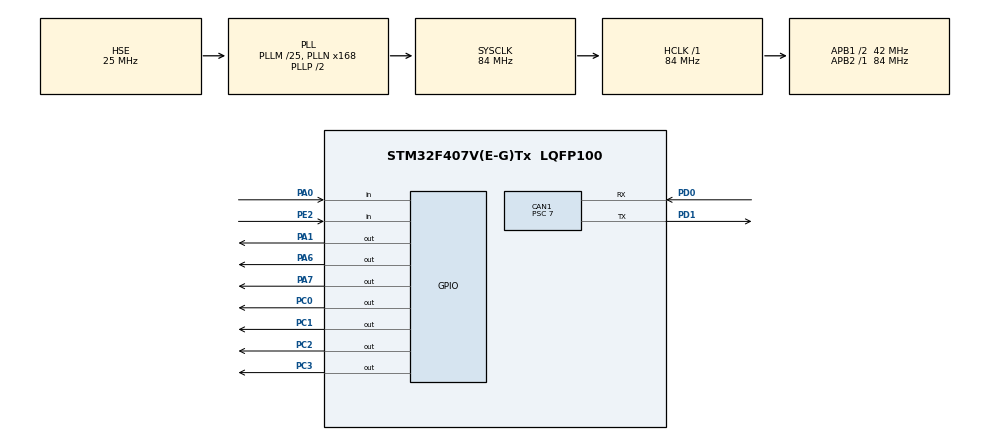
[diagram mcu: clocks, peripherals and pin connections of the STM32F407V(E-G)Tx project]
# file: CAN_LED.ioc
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CAN1.BS1=CAN_BS1_5TQ
CAN1.BS2=CAN_BS2_6TQ
CAN1.CalculateTimeQuantum=166.66666666666669
CAN1.Prescaler=7
Mcu.Family=STM32F4
Mcu.Name=STM32F407V(E-G)Tx
Mcu.Package=LQFP100
NVIC.CAN1_RX0_IRQn=true\:0\:0\:false\:false\:true\:true\:true
NVIC.PriorityGroup=NVIC_PRIORITYGROUP_4
PA0-WKUP.Signal=GPIO_Input
PA1.Signal=GPIO_Output
PA6.Signal=GPIO_Output
PA7.Signal=GPIO_Output
PC0.Signal=GPIO_Output
PC1.Signal=GPIO_Output
PC2.Signal=GPIO_Output
PC3.Signal=GPIO_Output
PD0.Mode=Master
PD0.Signal=CAN1_RX
PD1.Mode=Master
PD1.Signal=CAN1_TX
PE2.Signal=GPIO_Input
PH0-OSC_IN.Mode=HSE-External-Oscillator
PH0-OSC_IN.Signal=RCC_OSC_IN
PH1-OSC_OUT.Mode=HSE-External-Oscillator
PH1-OSC_OUT.Signal=RCC_OSC_OUT
ProjectManager.HeapSize=0x200
ProjectManager.StackSize=0x400
ProjectManager.TargetToolchain=MDK-ARM V5.27
RCC.48MHZClocksFreq_Value=42000000
RCC.AHBFreq_Value=84000000
RCC.APB1CLKDivider=RCC_HCLK_DIV2
RCC.APB1Freq_Value=42000000
RCC.APB1TimFreq_Value=84000000
RCC.APB2Freq_Value=84000000
RCC.APB2TimFreq_Value=84000000
RCC.CortexFreq_Value=84000000
RCC.HCLKFreq_Value=84000000
RCC.HSE_VALUE=25000000
RCC.HSI_VALUE=16000000
RCC.LSE_VALUE=32768
RCC.PLLM=25
RCC.PLLN=168
RCC.PLLSourceVirtual=RCC_PLLSOURCE_HSE
RCC.SYSCLKFreq_VALUE=84000000
RCC.SYSCLKSource=RCC_SYSCLKSOURCE_PLLCLK
RCC.VCOOutputFreq_Value=168000000
board=custom

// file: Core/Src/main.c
/* USER CODE BEGIN Header */
/**
  ******************************************************************************
  * @file           : main.c
  * @brief          : Main program body
  ******************************************************************************
  * @attention
  *
  * <h2><center>&copy; Copyright (c) 2021 STMicroelectronics.
  * All rights reserved.</center></h2>
  *
  * This software component is licensed by ST under BSD 3-Clause license,
  * the "License"; You may not use this file except in compliance with the
  * License. You may obtain a copy of the License at:
  *                        opensource.org/licenses/BSD-3-Clause
  *
  ******************************************************************************
  */
/* USER CODE END Header */
#include "main.h"
#include "can.h"
#include "gpio.h"

/* USER CODE BEGIN PV */
//Tx and Rx structure
static CAN_TxHeaderTypeDef TxMessage;
static CAN_RxHeaderTypeDef RxMessage;

//Rx Txdata
uint8_t TxData[8]={0};
uint32_t TxMailbox;
uint8_t RxData[8]={0};

//address
uint16_t OwnID=0x123;
uint16_t RemoteID =0x124;

/* USER CODE END PV */

void SystemClock_Config(void);
/* USER CODE BEGIN PFP */
void CAN_filterConfig(void);
void CAN_Txsetup(void);
/* USER CODE END PFP */

int main(void)
{

  /* MCU Configuration--------------------------------------------------------*/

  /* Reset of all peripherals, Initializes the Flash interface and the Systick. */
  HAL_Init();

  /* Configure the system clock */
  SystemClock_Config();

  /* Initialize all configured peripherals */
  MX_GPIO_Init();
  MX_CAN1_Init();
  /* USER CODE BEGIN 2 */

	CAN_filterConfig();
	CAN_Txsetup();

  /* USER CODE END 2 */

  /* Infinite loop */
  while (1)
  {

    /* USER CODE BEGIN 3 */
		HAL_CAN_AddTxMessage(&hcan1,&TxMessage,TxData,&TxMailbox);
		HAL_Delay(10);
		//if(HAL_GPIO_ReadPin(GPIOA,GPIO_PIN_0)==GPIO_PIN_SET){
		//	HAL_GPIO_TogglePin(GPIOA,GPIO_PIN_1);
		//	HAL_CAN_AddTxMessage(&hcan1,&TxMessage,TxData,&TxMailbox);
		//}
	//	HAL_Delay(100);
  }
  /* USER CODE END 3 */
}

void SystemClock_Config(void)
{
  RCC_OscInitTypeDef RCC_OscInitStruct = {0};
  RCC_ClkInitTypeDef RCC_ClkInitStruct = {0};

  /** Configure the main internal regulator output voltage
  */
  __HAL_RCC_PWR_CLK_ENABLE();
  __HAL_PWR_VOLTAGESCALING_CONFIG(PWR_REGULATOR_VOLTAGE_SCALE1);
  /** Initializes the RCC Oscillators according to the specified parameters
  * in the RCC_OscInitTypeDef structure.
  */
  RCC_OscInitStruct.OscillatorType = RCC_OSCILLATORTYPE_HSE;
  RCC_OscInitStruct.HSEState = RCC_HSE_ON;
  RCC_OscInitStruct.PLL.PLLState = RCC_PLL_ON;
  RCC_OscInitStruct.PLL.PLLSource = RCC_PLLSOURCE_HSE;
  RCC_OscInitStruct.PLL.PLLM = 25;
  RCC_OscInitStruct.PLL.PLLN = 168;
  RCC_OscInitStruct.PLL.PLLP = RCC_PLLP_DIV2;
  RCC_OscInitStruct.PLL.PLLQ = 4;
  if (HAL_RCC_OscConfig(&RCC_OscInitStruct) != HAL_OK)
  {
    Error_Handler();
  }
  /** Initializes the CPU, AHB and APB buses clocks
  */
  RCC_ClkInitStruct.ClockType = RCC_CLOCKTYPE_HCLK|RCC_CLOCKTYPE_SYSCLK
                              |RCC_CLOCKTYPE_PCLK1|RCC_CLOCKTYPE_PCLK2;
  RCC_ClkInitStruct.SYSCLKSource = RCC_SYSCLKSOURCE_PLLCLK;
  RCC_ClkInitStruct.AHBCLKDivider = RCC_SYSCLK_DIV1;
  RCC_ClkInitStruct.APB1CLKDivider = RCC_HCLK_DIV2;
  RCC_ClkInitStruct.APB2CLKDivider = RCC_HCLK_DIV1;

  if (HAL_RCC_ClockConfig(&RCC_ClkInitStruct, FLASH_LATENCY_2) != HAL_OK)
  {
    Error_Handler();
  }
}

/* USER CODE BEGIN 4 */
void CAN_filterConfig(void){
	CAN_FilterTypeDef filterConfig;

	filterConfig.FilterBank=0;
	filterConfig.FilterActivation=ENABLE;
	filterConfig.FilterFIFOAssignment=CAN_RX_FIFO0;
	filterConfig.FilterIdHigh=0x0000;
	filterConfig.FilterIdLow=0x0000;
	filterConfig.FilterMaskIdHigh=0x0000;
	filterConfig.FilterMaskIdLow=0x0000;
	filterConfig.FilterMode=CAN_FILTERMODE_IDMASK;
	filterConfig.FilterScale= CAN_FILTERSCALE_32BIT;
	filterConfig.SlaveStartFilterBank=14;

	if(HAL_CAN_ConfigFilter(&hcan1,&filterConfig)!=HAL_OK){
		Error_Handler();
	}

	if(HAL_CAN_ActivateNotification(&hcan1,CAN_IT_RX_FIFO0_MSG_PENDING)){
		Error_Handler();
	}		//enable interrupt

}
void CAN_Txsetup(){
		if(HAL_CAN_Start(&hcan1)!=HAL_OK){
		Error_Handler();
		}

		TxMessage.StdId=RemoteID;
		TxMessage.ExtId=0x01;
		TxMessage.RTR=CAN_RTR_DATA;
		TxMessage.IDE=CAN_ID_STD;
		TxMessage.DLC=2;
		TxMessage.TransmitGlobalTime=DISABLE;   //time trigger must be turned ON

		TxData[0]=0xAC;
		TxData[1]=0x01;
		HAL_GPIO_WritePin(GPIOA,GPIO_PIN_6,GPIO_PIN_SET);
}

void HAL_CAN_RxFifo0MsgPendingCallback(CAN_HandleTypeDef *hcan){
	if(HAL_CAN_GetRxMessage(hcan,CAN_RX_FIFO0,&RxMessage,RxData)!=HAL_OK){
		Error_Handler();
	}

	if(RxMessage.StdId==RemoteID){
		HAL_GPIO_TogglePin(GPIOA,GPIO_PIN_1);
	}
}
/* USER CODE END 4 */

void Error_Handler(void)
{
}

/************************ (C) COPYRIGHT STMicroelectronics *****END OF FILE****/
